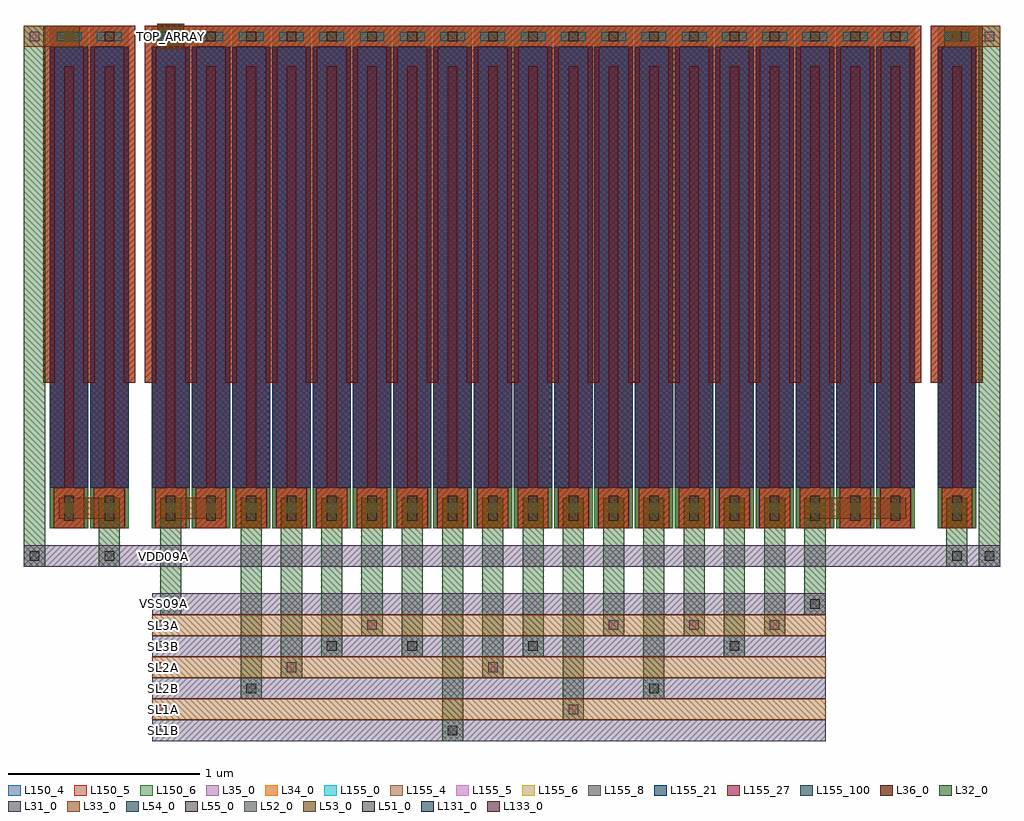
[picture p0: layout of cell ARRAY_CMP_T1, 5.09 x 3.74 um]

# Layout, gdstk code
from math import pi, radians
import gdstk
lib = gdstk.Library(unit=1e-6, precision=1e-09)
def R(c, l, rs):  # rectangles x0, y0, x1, y1
    for r in rs: c.add(gdstk.rectangle(r[:2], r[2:], *l))
def A(c, l, x, y, w, h, nx, ny, dx, dy):  # array of equal rectangles
    R(c, l, [(x+i*dx, y+j*dy, x+i*dx+w, y+j*dy+h) for i in range(nx) for j in range(ny)])
L31_0 = (31, 0)
L32_0 = (32, 0)
L33_0 = (33, 0)
L34_0 = (34, 0)
L35_0 = (35, 0)
L36_0 = (36, 0)
L51_0 = (51, 0)
L52_0 = (52, 0)
L53_0 = (53, 0)
L54_0 = (54, 0)
L55_0 = (55, 0)
L131_0 = (131, 0)
L133_0 = (133, 0)
L150_4 = (150, 4)
L150_5 = (150, 5)
L150_6 = (150, 6)
L155_0 = (155, 0)
L155_4 = (155, 4)
L155_5 = (155, 5)
L155_6 = (155, 6)
L155_8 = (155, 8)
L155_21 = (155, 21)
L155_27 = (155, 27)
L155_100 = (155, 100)

m5_m4_cdns_614254183326 = lib.new_cell('M5_M4_CDNS_614254183326')
R(m5_m4_cdns_614254183326, L34_0, [(-0.07,-0.105,0.07,0.105)])
R(m5_m4_cdns_614254183326, L35_0, [(-0.07,-0.105,0.07,0.105)])
R(m5_m4_cdns_614254183326, L54_0, [(-0.025,-0.065,0.025,0.065)])

m6_m5_cdns_614254183327 = lib.new_cell('M6_M5_CDNS_614254183327')
R(m6_m5_cdns_614254183327, L35_0, [(-0.07,-0.105,0.07,0.105)])
R(m6_m5_cdns_614254183327, L36_0, [(-0.055,-0.105,0.055,0.105)])
R(m6_m5_cdns_614254183327, L55_0, [(-0.025,-0.065,0.025,0.065)])

m5_m4_cdns_614254183328 = lib.new_cell('M5_M4_CDNS_614254183328')
R(m5_m4_cdns_614254183328, L34_0, [(-0.095,-0.055,0.095,0.055)])
R(m5_m4_cdns_614254183328, L35_0, [(-0.12,-0.055,0.12,0.055)])
R(m5_m4_cdns_614254183328, L54_0, [(-0.065,-0.025,0.065,0.025)])

m6_m5_cdns_614254183329 = lib.new_cell('M6_M5_CDNS_614254183329')
R(m6_m5_cdns_614254183329, L35_0, [(-0.055,-0.055,0.055,0.055)])
R(m6_m5_cdns_614254183329, L36_0, [(-0.055,-0.055,0.055,0.055)])
R(m6_m5_cdns_614254183329, L55_0, [(-0.025,-0.025,0.025,0.025)])

cu1f = lib.new_cell('CU1F')
R(cu1f, L34_0, [(0.02,0,0.18,0.21), (-0.035,2.51,0.235,2.62)])
R(cu1f, L35_0, [(0.02,0,0.18,0.21), (-0.035,2.51,0.235,2.62)])
R(cu1f, L36_0, [(0.02,0,0.18,0.21), (-0.035,2.51,0.235,2.62)])
R(cu1f, L150_4, [(0,0,0.2,2.62)])
R(cu1f, L150_5, [(0,0,0.2,2.62)])
R(cu1f, L150_6, [(0,0,0.2,2.62)])
R(cu1f, L155_0, [(0,0.21,0.2,2.51)])
R(cu1f, L155_4, [(0,0.21,0.2,2.51)])
R(cu1f, L155_5, [(0,0.21,0.2,2.51)])
R(cu1f, L155_6, [(0,0.21,0.2,2.51)])
R(cu1f, L155_8, [(0,0.21,0.2,2.51)])
R(cu1f, L155_21, [(0,0.21,0.2,2.51)])
R(cu1f, L155_27, [(0,0.21,0.2,2.51)])
R(cu1f, L155_100, [(0,0.21,0.2,2.51)])
cu1f.add(gdstk.FlexPath([(0.205,2.59),(0.205,0.76)], 0.06, ends=(0.03, 0), simple_path=True, layer=34, datatype=0))  # L34_0
cu1f.add(gdstk.FlexPath([(0.1,2.41),(0.1,0)], 0.05, ends="flush", simple_path=True, layer=34, datatype=0))  # L34_0
cu1f.add(gdstk.FlexPath([(-0.005,2.59),(-0.005,0.76)], 0.06, ends=(0.03, 0), simple_path=True, layer=34, datatype=0))  # L34_0
cu1f.add(gdstk.FlexPath([(0.205,0.76),(0.205,2.59)], 0.06, ends=(0, 0.03), simple_path=True, layer=35, datatype=0))  # L35_0
cu1f.add(gdstk.FlexPath([(0.1,2.41),(0.1,0)], 0.05, ends="flush", simple_path=True, layer=35, datatype=0))  # L35_0
cu1f.add(gdstk.FlexPath([(-0.005,0.76),(-0.005,2.59)], 0.06, ends=(0, 0.03), simple_path=True, layer=35, datatype=0))  # L35_0
cu1f.add(gdstk.FlexPath([(0.205,0.76),(0.205,2.59)], 0.06, ends=(0, 0.03), simple_path=True, layer=36, datatype=0))  # L36_0
cu1f.add(gdstk.FlexPath([(0.1,2.41),(0.1,0)], 0.05, ends="flush", simple_path=True, layer=36, datatype=0))  # L36_0
cu1f.add(gdstk.FlexPath([(-0.005,0.76),(-0.005,2.59)], 0.06, ends=(0, 0.03), simple_path=True, layer=36, datatype=0))  # L36_0
cu1f.add(gdstk.Reference(m5_m4_cdns_614254183326, (0.1,0.105), rotation=pi, x_reflection=True))
cu1f.add(gdstk.Reference(m6_m5_cdns_614254183327, (0.1,0.105), rotation=pi, x_reflection=True))
cu1f.add(gdstk.Reference(m5_m4_cdns_614254183328, (0.1,2.565)))
cu1f.add(gdstk.Reference(m6_m5_cdns_614254183329, (0.1,2.565)))

m2_m1_cdns_614254183320 = lib.new_cell('M2_M1_CDNS_614254183320')
R(m2_m1_cdns_614254183320, L31_0, [(-0.055,-0.055,0.055,0.055)])
R(m2_m1_cdns_614254183320, L32_0, [(-0.065,-0.06,0.065,0.06)])
R(m2_m1_cdns_614254183320, L51_0, [(-0.025,-0.025,0.025,0.025)])

m3_m2_cdns_614254183321 = lib.new_cell('M3_M2_CDNS_614254183321')
R(m3_m2_cdns_614254183321, L32_0, [(-0.065,-0.06,0.065,0.06)])
R(m3_m2_cdns_614254183321, L33_0, [(-0.07,-0.065,0.07,0.065)])
R(m3_m2_cdns_614254183321, L52_0, [(-0.025,-0.025,0.025,0.025)])

m4_m3_cdns_614254183322 = lib.new_cell('M4_M3_CDNS_614254183322')
R(m4_m3_cdns_614254183322, L33_0, [(-0.07,-0.065,0.07,0.065)])
R(m4_m3_cdns_614254183322, L34_0, [(-0.055,-0.055,0.055,0.055)])
R(m4_m3_cdns_614254183322, L53_0, [(-0.025,-0.025,0.025,0.025)])

m4_m3_cdns_614254183323 = lib.new_cell('M4_M3_CDNS_614254183323')
R(m4_m3_cdns_614254183323, L33_0, [(-0.055,-0.055,0.055,0.055)])
R(m4_m3_cdns_614254183323, L34_0, [(-0.055,-0.055,0.055,0.055)])
R(m4_m3_cdns_614254183323, L53_0, [(-0.025,-0.025,0.025,0.025)])

m3_m2_cdns_614254183324 = lib.new_cell('M3_M2_CDNS_614254183324')
R(m3_m2_cdns_614254183324, L32_0, [(-0.055,-0.055,0.055,0.055)])
R(m3_m2_cdns_614254183324, L33_0, [(-0.055,-0.055,0.055,0.055)])
R(m3_m2_cdns_614254183324, L52_0, [(-0.025,-0.025,0.025,0.025)])

m2_m1_cdns_614254183325 = lib.new_cell('M2_M1_CDNS_614254183325')
R(m2_m1_cdns_614254183325, L31_0, [(-0.055,-0.055,0.055,0.055)])
R(m2_m1_cdns_614254183325, L32_0, [(-0.055,-0.055,0.055,0.055)])
R(m2_m1_cdns_614254183325, L51_0, [(-0.025,-0.025,0.025,0.025)])

array_cmp_t1 = lib.new_cell('ARRAY_CMP_T1')
A(array_cmp_t1, L31_0, 0.535, -1.11, 3.51, 0.11, 1, 4, 0, 0.22)
R(array_cmp_t1, L31_0, [(-0.135,-0.2,4.955,-0.09), (0.56,2.5,0.7,2.63)])
R(array_cmp_t1, L32_0, [(0.575,-0.45,0.685,0.16), (3.935,-0.45,4.045,0.16), (-0.135,-0.2,-0.025,2.62), (0.255,-0.2,0.365,0.16), (4.675,-0.2,4.785,0.16), (4.845,-0.2,4.955,2.62)])
A(array_cmp_t1, L33_0, 0.535, -1, 3.51, 0.11, 1, 3, 0, 0.22)
A(array_cmp_t1, L33_0, 0.995, 0, 0.11, 0.16, 14, 1, 0.21, 0)
R(array_cmp_t1, L33_0, [(4.675,0,4.785,0.16), (0.045,0.05,0.365,0.16), (0.575,0.05,0.895,0.16), (3.935,0.05,4.465,0.16), (-0.135,2.51,0.155,2.62), (4.665,2.51,4.955,2.62)])
A(array_cmp_t1, L131_0, 0.565, -1.08, 0.05, 0.05, 1, 4, 0, 0.22)
R(array_cmp_t1, L131_0, [(0.565,-0.17,0.615,-0.12), (0.605,2.54,0.655,2.59)])
A(array_cmp_t1, L133_0, 0.565, -0.97, 0.05, 0.05, 1, 3, 0, 0.22)
array_cmp_t1.add(gdstk.FlexPath([(1.05,0.16),(1.05,-0.89)], 0.11, ends="flush", simple_path=True, layer=32, datatype=0))  # L32_0
array_cmp_t1.add(gdstk.FlexPath([(1.26,0.16),(1.26,-0.78)], 0.11, ends="flush", simple_path=True, layer=32, datatype=0))  # L32_0
array_cmp_t1.add(gdstk.FlexPath([(1.47,0.16),(1.47,-0.67)], 0.11, ends="flush", simple_path=True, layer=32, datatype=0))  # L32_0
array_cmp_t1.add(gdstk.FlexPath([(1.68,0.16),(1.68,-0.56)], 0.11, ends="flush", simple_path=True, layer=32, datatype=0))  # L32_0
array_cmp_t1.add(gdstk.FlexPath([(1.89,0.16),(1.89,-0.67)], 0.11, ends="flush", simple_path=True, layer=32, datatype=0))  # L32_0
array_cmp_t1.add(gdstk.FlexPath([(2.1,0.16),(2.1,-1.11)], 0.11, ends="flush", simple_path=True, layer=32, datatype=0))  # L32_0
array_cmp_t1.add(gdstk.FlexPath([(2.31,0.16),(2.31,-0.78)], 0.11, ends="flush", simple_path=True, layer=32, datatype=0))  # L32_0
array_cmp_t1.add(gdstk.FlexPath([(2.52,0.16),(2.52,-0.67)], 0.11, ends="flush", simple_path=True, layer=32, datatype=0))  # L32_0
array_cmp_t1.add(gdstk.FlexPath([(2.73,0.16),(2.73,-1)], 0.11, ends="flush", simple_path=True, layer=32, datatype=0))  # L32_0
array_cmp_t1.add(gdstk.FlexPath([(2.94,0.16),(2.94,-0.56)], 0.11, ends="flush", simple_path=True, layer=32, datatype=0))  # L32_0
array_cmp_t1.add(gdstk.FlexPath([(3.15,0.16),(3.15,-0.89)], 0.11, ends="flush", simple_path=True, layer=32, datatype=0))  # L32_0
array_cmp_t1.add(gdstk.FlexPath([(3.36,0.16),(3.36,-0.56)], 0.11, ends="flush", simple_path=True, layer=32, datatype=0))  # L32_0
array_cmp_t1.add(gdstk.FlexPath([(3.57,0.16),(3.57,-0.67)], 0.11, ends="flush", simple_path=True, layer=32, datatype=0))  # L32_0
array_cmp_t1.add(gdstk.FlexPath([(3.78,0.16),(3.78,-0.56)], 0.11, ends="flush", simple_path=True, layer=32, datatype=0))  # L32_0
array_cmp_t1.add(gdstk.Reference(cu1f, (0.95,0)))
array_cmp_t1.add(gdstk.Reference(cu1f, (1.16,0)))
array_cmp_t1.add(gdstk.Reference(cu1f, (1.37,0)))
array_cmp_t1.add(gdstk.Reference(cu1f, (1.58,0)))
array_cmp_t1.add(gdstk.Reference(cu1f, (1.79,0)))
array_cmp_t1.add(gdstk.Reference(cu1f, (2,0)))
array_cmp_t1.add(gdstk.Reference(cu1f, (2.21,0)))
array_cmp_t1.add(gdstk.Reference(cu1f, (2.42,0)))
array_cmp_t1.add(gdstk.Reference(cu1f, (2.63,0)))
array_cmp_t1.add(gdstk.Reference(cu1f, (2.84,0)))
array_cmp_t1.add(gdstk.Reference(cu1f, (3.05,0)))
array_cmp_t1.add(gdstk.Reference(cu1f, (3.26,0)))
array_cmp_t1.add(gdstk.Reference(cu1f, (3.47,0)))
array_cmp_t1.add(gdstk.Reference(cu1f, (3.68,0)))
array_cmp_t1.add(gdstk.Reference(cu1f, (3.89,0)))
array_cmp_t1.add(gdstk.Reference(cu1f, (4.1,0)))
array_cmp_t1.add(gdstk.Reference(cu1f, (4.31,0)))
array_cmp_t1.add(gdstk.Reference(cu1f, (4.63,0)))
array_cmp_t1.add(gdstk.Reference(cu1f, (0.74,0)))
array_cmp_t1.add(gdstk.Reference(cu1f, (0.53,0)))
array_cmp_t1.add(gdstk.Reference(cu1f, (0.21,0)))
array_cmp_t1.add(gdstk.Reference(cu1f, (0,0)))
array_cmp_t1.add(gdstk.Reference(m2_m1_cdns_614254183320, (0.63,2.565)))
array_cmp_t1.add(gdstk.Reference(m3_m2_cdns_614254183321, (0.63,2.565)))
array_cmp_t1.add(gdstk.Reference(m4_m3_cdns_614254183322, (0.63,2.565)))
array_cmp_t1.add(gdstk.Reference(m4_m3_cdns_614254183323, (3.36,0.105)))
array_cmp_t1.add(gdstk.Reference(m4_m3_cdns_614254183323, (3.15,0.105)))
array_cmp_t1.add(gdstk.Reference(m4_m3_cdns_614254183323, (2.94,0.105)))
array_cmp_t1.add(gdstk.Reference(m4_m3_cdns_614254183323, (2.73,0.105)))
array_cmp_t1.add(gdstk.Reference(m4_m3_cdns_614254183323, (2.52,0.105)))
array_cmp_t1.add(gdstk.Reference(m4_m3_cdns_614254183323, (2.31,0.105)))
array_cmp_t1.add(gdstk.Reference(m4_m3_cdns_614254183323, (2.1,0.105)))
array_cmp_t1.add(gdstk.Reference(m4_m3_cdns_614254183323, (1.89,0.105)))
array_cmp_t1.add(gdstk.Reference(m4_m3_cdns_614254183323, (1.68,0.105)))
array_cmp_t1.add(gdstk.Reference(m4_m3_cdns_614254183323, (1.47,0.105)))
array_cmp_t1.add(gdstk.Reference(m4_m3_cdns_614254183323, (1.26,0.105)))
array_cmp_t1.add(gdstk.Reference(m4_m3_cdns_614254183323, (1.05,0.105)))
array_cmp_t1.add(gdstk.Reference(m4_m3_cdns_614254183323, (0.1,2.565)))
array_cmp_t1.add(gdstk.Reference(m4_m3_cdns_614254183323, (4.72,2.565)))
array_cmp_t1.add(gdstk.Reference(m4_m3_cdns_614254183323, (0.31,0.105)))
array_cmp_t1.add(gdstk.Reference(m4_m3_cdns_614254183323, (0.1,0.105)))
array_cmp_t1.add(gdstk.Reference(m4_m3_cdns_614254183323, (0.63,0.105)))
array_cmp_t1.add(gdstk.Reference(m4_m3_cdns_614254183323, (0.84,0.105)))
array_cmp_t1.add(gdstk.Reference(m4_m3_cdns_614254183323, (3.99,0.105)))
array_cmp_t1.add(gdstk.Reference(m4_m3_cdns_614254183323, (4.41,0.105)))
array_cmp_t1.add(gdstk.Reference(m4_m3_cdns_614254183323, (4.2,0.105)))
array_cmp_t1.add(gdstk.Reference(m4_m3_cdns_614254183323, (4.73,0.105)))
array_cmp_t1.add(gdstk.Reference(m4_m3_cdns_614254183323, (3.78,0.105)))
array_cmp_t1.add(gdstk.Reference(m4_m3_cdns_614254183323, (3.57,0.105)))
array_cmp_t1.add(gdstk.Reference(m3_m2_cdns_614254183324, (1.89,0.105)))
array_cmp_t1.add(gdstk.Reference(m3_m2_cdns_614254183324, (2.94,-0.505)))
array_cmp_t1.add(gdstk.Reference(m3_m2_cdns_614254183324, (2.73,-0.945)))
array_cmp_t1.add(gdstk.Reference(m3_m2_cdns_614254183324, (2.31,-0.725)))
array_cmp_t1.add(gdstk.Reference(m3_m2_cdns_614254183324, (1.68,0.105)))
array_cmp_t1.add(gdstk.Reference(m3_m2_cdns_614254183324, (1.47,0.105)))
array_cmp_t1.add(gdstk.Reference(m3_m2_cdns_614254183324, (1.26,0.105)))
array_cmp_t1.add(gdstk.Reference(m3_m2_cdns_614254183324, (1.68,-0.505)))
array_cmp_t1.add(gdstk.Reference(m3_m2_cdns_614254183324, (1.05,0.105)))
array_cmp_t1.add(gdstk.Reference(m3_m2_cdns_614254183324, (1.26,-0.725)))
array_cmp_t1.add(gdstk.Reference(m3_m2_cdns_614254183324, (-0.08,2.565)))
array_cmp_t1.add(gdstk.Reference(m3_m2_cdns_614254183324, (3.78,-0.505)))
array_cmp_t1.add(gdstk.Reference(m3_m2_cdns_614254183324, (4.9,2.565)))
array_cmp_t1.add(gdstk.Reference(m3_m2_cdns_614254183324, (3.36,-0.505)))
array_cmp_t1.add(gdstk.Reference(m3_m2_cdns_614254183324, (0.31,0.105)))
array_cmp_t1.add(gdstk.Reference(m3_m2_cdns_614254183324, (0.63,0.105)))
array_cmp_t1.add(gdstk.Reference(m3_m2_cdns_614254183324, (3.99,0.105)))
array_cmp_t1.add(gdstk.Reference(m3_m2_cdns_614254183324, (4.73,0.105)))
array_cmp_t1.add(gdstk.Reference(m3_m2_cdns_614254183324, (3.78,0.105)))
array_cmp_t1.add(gdstk.Reference(m3_m2_cdns_614254183324, (3.57,0.105)))
array_cmp_t1.add(gdstk.Reference(m3_m2_cdns_614254183324, (3.36,0.105)))
array_cmp_t1.add(gdstk.Reference(m3_m2_cdns_614254183324, (3.15,0.105)))
array_cmp_t1.add(gdstk.Reference(m3_m2_cdns_614254183324, (2.94,0.105)))
array_cmp_t1.add(gdstk.Reference(m3_m2_cdns_614254183324, (2.73,0.105)))
array_cmp_t1.add(gdstk.Reference(m3_m2_cdns_614254183324, (2.52,0.105)))
array_cmp_t1.add(gdstk.Reference(m3_m2_cdns_614254183324, (2.31,0.105)))
array_cmp_t1.add(gdstk.Reference(m3_m2_cdns_614254183324, (2.1,0.105)))
array_cmp_t1.add(gdstk.Reference(m2_m1_cdns_614254183325, (3.15,-0.835)))
array_cmp_t1.add(gdstk.Reference(m2_m1_cdns_614254183325, (2.52,-0.615)))
array_cmp_t1.add(gdstk.Reference(m2_m1_cdns_614254183325, (2.1,-1.055)))
array_cmp_t1.add(gdstk.Reference(m2_m1_cdns_614254183325, (1.89,-0.615)))
array_cmp_t1.add(gdstk.Reference(m2_m1_cdns_614254183325, (1.47,-0.615)))
array_cmp_t1.add(gdstk.Reference(m2_m1_cdns_614254183325, (3.57,-0.615)))
array_cmp_t1.add(gdstk.Reference(m2_m1_cdns_614254183325, (1.05,-0.835)))
array_cmp_t1.add(gdstk.Reference(m2_m1_cdns_614254183325, (0.63,-0.395)))
array_cmp_t1.add(gdstk.Reference(m2_m1_cdns_614254183325, (0.31,-0.145)))
array_cmp_t1.add(gdstk.Reference(m2_m1_cdns_614254183325, (4.73,-0.145)))
array_cmp_t1.add(gdstk.Reference(m2_m1_cdns_614254183325, (3.99,-0.395)))
array_cmp_t1.add(gdstk.Reference(m2_m1_cdns_614254183325, (-0.08,-0.145)))
array_cmp_t1.add(gdstk.Reference(m2_m1_cdns_614254183325, (4.9,-0.145)))
array_cmp_t1.add(gdstk.Label('SL2A', (0.59,-0.725), layer=133, texttype=0))
array_cmp_t1.add(gdstk.Label('SL2A', (0.59,-0.725), layer=133, texttype=0))
array_cmp_t1.add(gdstk.Label('SL1A', (0.59,-0.945), layer=133, texttype=0))
array_cmp_t1.add(gdstk.Label('SL1A', (0.59,-0.945), layer=133, texttype=0))
array_cmp_t1.add(gdstk.Label('SL3A', (0.59,-0.505), layer=133, texttype=0))
array_cmp_t1.add(gdstk.Label('SL3A', (0.59,-0.505), layer=133, texttype=0))
array_cmp_t1.add(gdstk.Label('TOP_ARRAY', (0.628,2.565), layer=131, texttype=0))
array_cmp_t1.add(gdstk.Label('TOP_ARRAY', (0.628,2.565), layer=131, texttype=0))
array_cmp_t1.add(gdstk.Label('SL2B', (0.59,-0.835), layer=131, texttype=0))
array_cmp_t1.add(gdstk.Label('SL2B', (0.59,-0.835), layer=131, texttype=0))
array_cmp_t1.add(gdstk.Label('SL1B', (0.59,-1.055), layer=131, texttype=0))
array_cmp_t1.add(gdstk.Label('SL1B', (0.59,-1.055), layer=131, texttype=0))
array_cmp_t1.add(gdstk.Label('VSS09A', (0.59,-0.395), layer=131, texttype=0))
array_cmp_t1.add(gdstk.Label('VSS09A', (0.59,-0.395), layer=131, texttype=0))
array_cmp_t1.add(gdstk.Label('SL3B', (0.59,-0.615), layer=131, texttype=0))
array_cmp_t1.add(gdstk.Label('SL3B', (0.59,-0.615), layer=131, texttype=0))
array_cmp_t1.add(gdstk.Label('VDD09A', (0.59,-0.145), layer=131, texttype=0))
array_cmp_t1.add(gdstk.Label('VDD09A', (0.59,-0.145), layer=131, texttype=0))

lib.write_gds('ARRAY_CMP_T1.gds')
